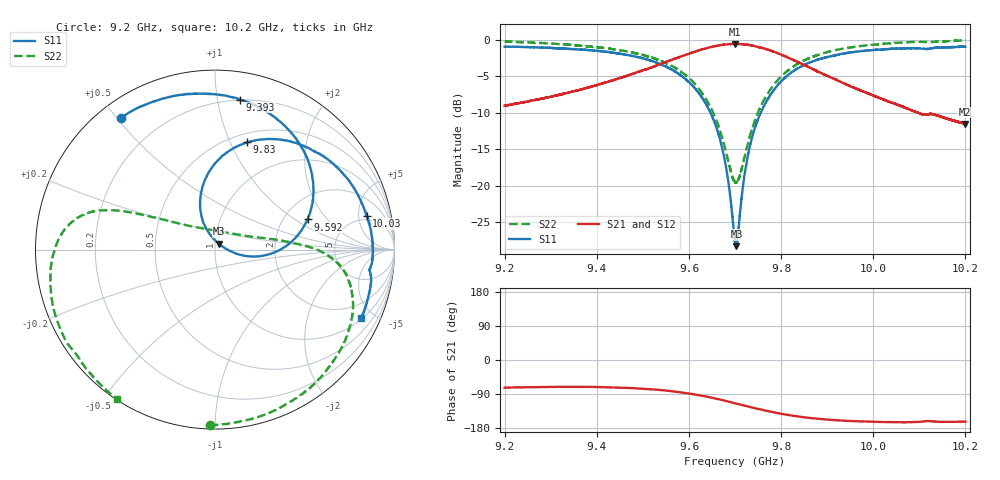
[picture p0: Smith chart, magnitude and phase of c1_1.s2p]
!Agilent Technologies,N5242A,MY51221714,A.09.90.19
!Agilent N5242A: A.09.90.19
!Date: Saturday, March 16, 2024 09:39:27
!Correction: S11(Full 2 Port(1,2))
!S21(Full 2 Port(1,2))
!S12(Full 2 Port(1,2))
!S22(Full 2 Port(1,2))
!S2P File: Measurements: S11, S21, S12, S22:
# Hz S  dB  R 50
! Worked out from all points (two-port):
!   16001 points, 9.2 GHz to 10.2 GHz, reference 50 ohm
!   highest |S21| = -0.51 dB at 9.7 GHz (marker M1); lowest = -11.5 dB at 10.2 GHz (marker M2)
!   |S21| within 3 dB of the highest: 9.529106 GHz to 9.529243 GHz (136.8 kHz wide, 0.00144 % of centre); 9.529 GHz to 9.853 GHz (324.2 MHz wide, 3.35 % of centre)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
!   lowest |S11| = -28.3 dB at 9.703 GHz (marker M3), VSWR 1.08, Z = 52 + j3.38 ohm
!   |S11| at or under -10 dB: 9.647 GHz to 9.756 GHz (109 MHz wide, 1.12 % of centre)
!   |S22| runs from -19.6 to 0.0 dB; largest |S21 - S12| = 0.013
!   S11 on the Smith chart (normalised r, x): 9.2 GHz: 0.07, +0.51; 9.393 GHz: 0.20, +1.16; 9.592 GHz: 2.69, +1.28; 9.83 GHz: 0.59, +1.16; 10.03 GHz: 4.23, +6.35; 10.2 GHz: 1.07, -4.26
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9.2e9  -0.91 125.7  -9.01 -73.0  -9.00 -73.6  -0.18 -91.7
9.277688e9  -1.02 108.2  -8.09 -71.4  -8.07 -71.9  -0.39 -70.3
9.366688e9  -1.30 87.2  -6.78 -71.0  -6.75 -71.5  -0.78 -46.8
9.39325e9  -1.43 80.4  -6.30 -71.1  -6.29 -71.8  -0.93 -40.0
9.463875e9  -2.01 61.1  -4.94 -73.6  -4.93 -74.0  -1.54 -23.6
9.533375e9  -3.18 39.5  -3.41 -78.7  -3.39 -79.2  -2.70 -9.7
9.591875e9  -5.31 18.1  -2.05 -86.9  -2.02 -87.6  -4.75 -0.5
9.662938e9  -12.66 -9.6  -0.75 -103.2  -0.74 -103.7  -11.61 14.7
9.681938e9  -17.94 -11.2  -0.58 -108.6  -0.56 -109.1  -15.78 30.4
9.7e9  -27.65 32.6  -0.52 -114.0  -0.50 -114.6  -19.60 73.5
9.70025e9  -27.79 34.6  -0.51 -114.1  -0.50 -114.6  -19.47 74.3
9.703e9  -28.33 57.9  -0.52 -114.9  -0.50 -115.6  -19.58 83.4
9.724188e9  -17.15 112.9  -0.62 -121.4  -0.60 -122.1  -15.18 133.0
9.745438e9  -11.63 108.4  -0.86 -127.7  -0.84 -128.4  -10.65 147.6
9.781188e9  -7.12 93.7  -1.52 -137.4  -1.52 -138.0  -6.38 155.3
9.83025e9  -4.10 73.4  -2.83 -147.7  -2.83 -148.4  -3.48 161.0
9.866688e9  -2.97 59.7  -3.92 -153.5  -3.91 -154.1  -2.33 165.5
9.949125e9  -1.71 33.7  -6.29 -160.8  -6.30 -161.4  -1.02 179.2
1.002869e10  -1.25 12.5  -8.33 -163.7  -8.32 -164.3  -0.47 -164.3
1.003338e10  -1.23 11.3  -8.44 -163.8  -8.43 -164.3  -0.44 -163.2
1.019994e10  -0.92 -25.0  -11.51 -162.7  -11.50 -163.4  -0.05 -123.4
1.02e10  -0.92 -25.0  -11.51 -162.7  -11.50 -163.3  -0.05 -123.4
